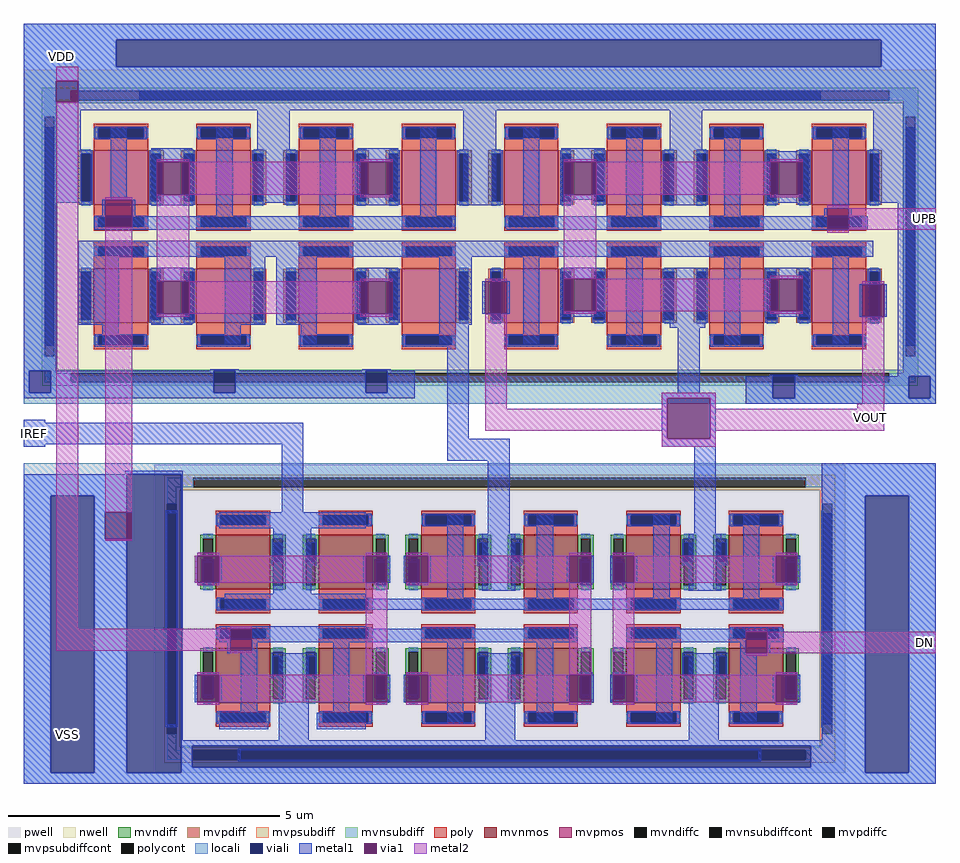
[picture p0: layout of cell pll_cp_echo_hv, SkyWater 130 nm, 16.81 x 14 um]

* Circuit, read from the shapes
.subckt pll_cp_echo_hv VOUT VSS VDD IREF DN UPB
XM1 VSS VDD n1 VSS sky130_fd_pr__nfet_g5v0d10v5 w=1 l=1 m=2
XM2 IREF IREF n1 VSS sky130_fd_pr__nfet_g5v0d10v5 w=1 l=1 m=2
XM3 VSS VDD n2 VSS sky130_fd_pr__nfet_g5v0d10v5 w=1 l=1 m=2
XM4 n3 IREF n2 VSS sky130_fd_pr__nfet_g5v0d10v5 w=1 l=1 m=2
XM5 VSS DN n4 VSS sky130_fd_pr__nfet_g5v0d10v5 w=1 l=1 m=2
XM6 VOUT IREF n4 VSS sky130_fd_pr__nfet_g5v0d10v5 w=1 l=1 m=2
XM7 n5 n3 n3 VDD sky130_fd_pr__pfet_g5v0d10v5 w=1 l=1 m=4
XM8 n5 VSS VDD VDD sky130_fd_pr__pfet_g5v0d10v5 w=1 l=1 m=4
XM9 n6 n3 VOUT VDD sky130_fd_pr__pfet_g5v0d10v5 w=1 l=1 m=4
XM10 n6 UPB VDD VDD sky130_fd_pr__pfet_g5v0d10v5 w=1 l=1 m=4
.ends

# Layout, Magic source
magic
tech sky130A
magscale 1 2
<< pwell >>
rect -2120 -200 -1980 -100
<< locali >>
rect -3040 1660 320 1720
rect -3040 1560 -2700 1660
rect 120 1560 320 1660
rect -3040 1440 320 1560
rect -3040 440 -2920 1440
rect -3040 360 -3020 440
rect -2940 420 -2920 440
rect -2940 360 -2340 420
rect -2260 360 -1780 420
rect 200 420 320 1440
rect -1700 360 -280 420
rect -3040 340 -280 360
rect -200 340 220 420
rect 300 340 320 420
rect -3040 320 320 340
rect -3040 60 320 100
rect -3040 -20 -2660 60
rect -3040 -1040 -2940 -20
rect -2780 -1040 -2660 -20
rect -2460 40 320 60
rect -100 -20 320 40
rect -100 -940 60 -20
rect -2460 -1020 -2420 -940
rect -140 -1020 60 -940
rect -2460 -1040 60 -1020
rect 220 -1040 320 -20
rect -3040 -1080 320 -1040
<< viali >>
rect -2700 1560 120 1660
rect -3020 360 -2940 440
rect -2340 360 -2260 440
rect -1780 360 -1700 440
rect -280 340 -200 420
rect 220 340 300 420
rect -2940 -1040 -2780 -20
rect -2660 -1040 -2460 60
rect -2420 -1020 -140 -940
rect 60 -1040 220 -20
<< metal1 >>
rect -3040 1660 320 1720
rect -3040 1560 -2700 1660
rect 120 1560 320 1660
rect -3040 1510 320 1560
rect -3040 1430 -2920 1510
rect -2840 1430 320 1510
rect -3040 1400 320 1430
rect -3040 1060 -2830 1400
rect -2720 1070 -2660 1340
rect -2570 1210 -2420 1260
rect -2570 1090 -2550 1210
rect -2430 1090 -2420 1210
rect -3040 440 -2920 1060
rect -2750 1010 -2740 1070
rect -2780 970 -2740 1010
rect -2640 1010 -2630 1070
rect -2570 1050 -2420 1090
rect -2330 1010 -2270 1340
rect -2180 1060 -2060 1400
rect -1950 1010 -1890 1340
rect -1810 1210 -1660 1260
rect -1810 1090 -1800 1210
rect -1680 1090 -1660 1210
rect -1810 1050 -1660 1090
rect -1580 1010 -1520 1340
rect -1420 1050 -1300 1400
rect -1200 1010 -1140 1340
rect -1060 1210 -900 1260
rect -1060 1090 -1050 1210
rect -930 1090 -900 1210
rect -1060 1070 -900 1090
rect -820 1010 -760 1340
rect -660 1050 -540 1400
rect -460 1010 -400 1340
rect -310 1210 -150 1250
rect -310 1090 -290 1210
rect -170 1090 -150 1210
rect -310 1060 -150 1090
rect -60 1040 0 1340
rect 90 1060 320 1400
rect -90 1010 -80 1040
rect -2640 970 -1450 1010
rect -2780 960 -1450 970
rect -1260 960 -80 1010
rect 0 1010 10 1040
rect 0 960 70 1010
rect -2840 860 90 920
rect -2840 610 -2690 860
rect -2570 770 -2420 820
rect -2570 650 -2550 770
rect -2430 650 -2420 770
rect -2570 610 -2420 650
rect -2300 610 -2150 860
rect -2110 610 -1960 860
rect -1810 770 -1660 820
rect -1810 650 -1800 770
rect -1680 650 -1660 770
rect -1810 610 -1660 650
rect -1510 610 -1390 860
rect -1350 650 -1340 770
rect -1260 650 -1250 770
rect -2750 530 -2690 610
rect -2300 540 -2240 610
rect -2020 540 -1960 610
rect -1510 540 -1400 610
rect -1200 540 -1140 860
rect -1060 780 -900 820
rect -1060 660 -1050 780
rect -930 660 -900 780
rect -1060 640 -900 660
rect -2352 440 -2248 446
rect -1792 440 -1688 446
rect -3040 360 -3020 440
rect -2940 360 -2340 440
rect -2260 360 -1780 440
rect -1700 360 -1600 440
rect -3040 340 -1600 360
rect -3040 250 -2960 260
rect -3040 170 -2010 250
rect -3040 160 -2960 170
rect -2666 60 -2454 72
rect -3040 -20 -2660 60
rect -3040 -1040 -2940 -20
rect -2780 -80 -2660 -20
rect -2780 -180 -2740 -80
rect -2780 -1040 -2660 -180
rect -2460 -920 -2454 60
rect -2090 -80 -2010 170
rect -1480 190 -1400 540
rect -820 530 -760 860
rect -680 620 -520 820
rect -660 600 -530 620
rect -630 360 -550 600
rect -460 530 -400 860
rect -310 780 -150 820
rect -310 660 -290 780
rect -170 660 -150 780
rect -310 640 -150 660
rect -60 540 0 860
rect 40 640 50 760
rect 130 640 140 760
rect -292 420 -188 426
rect 180 420 320 1060
rect -690 340 -490 360
rect -690 190 -670 340
rect -510 190 -490 340
rect -380 340 -280 420
rect -200 340 220 420
rect 300 340 320 420
rect -380 320 320 340
rect -1480 110 -1250 190
rect -690 160 -490 190
rect -2320 -140 -1780 -80
rect -2410 -340 -2400 -240
rect -2320 -340 -2310 -240
rect -2120 -380 -1980 -140
rect -1790 -340 -1780 -240
rect -1700 -340 -1690 -240
rect -1640 -340 -1630 -240
rect -1550 -340 -1540 -240
rect -2300 -400 -1780 -380
rect -1480 -400 -1420 -90
rect -1330 -160 -1250 110
rect -1350 -370 -1230 -160
rect -1150 -400 -1090 -90
rect -1040 -340 -1030 -240
rect -950 -340 -940 -240
rect -880 -340 -870 -240
rect -790 -340 -780 -240
rect -720 -400 -660 -90
rect -570 -160 -490 160
rect -100 -20 320 100
rect -590 -370 -470 -160
rect -390 -400 -330 -90
rect -280 -340 -270 -240
rect -190 -340 -180 -240
rect -2300 -440 -240 -400
rect -2320 -510 -1780 -500
rect -2320 -560 -2280 -510
rect -2290 -590 -2280 -560
rect -2200 -560 -1000 -510
rect -820 -520 -240 -510
rect -820 -560 -380 -520
rect -2200 -590 -2180 -560
rect -2290 -600 -2180 -590
rect -2410 -780 -2400 -680
rect -2320 -780 -2310 -680
rect -2240 -820 -2180 -600
rect -2320 -880 -2140 -820
rect -2100 -920 -1990 -600
rect -1900 -820 -1840 -560
rect -1790 -780 -1780 -680
rect -1700 -780 -1690 -680
rect -1640 -780 -1630 -680
rect -1550 -780 -1540 -680
rect -1960 -880 -1780 -820
rect -1480 -860 -1420 -560
rect -1340 -920 -1230 -600
rect -1150 -850 -1090 -560
rect -1040 -780 -1030 -680
rect -950 -780 -940 -680
rect -880 -780 -870 -680
rect -790 -780 -780 -680
rect -710 -850 -650 -560
rect -400 -600 -380 -560
rect -300 -560 -240 -520
rect -300 -600 -290 -560
rect -590 -920 -480 -600
rect -400 -850 -340 -600
rect -280 -780 -270 -680
rect -190 -780 -180 -680
rect -100 -920 60 -20
rect -2460 -940 60 -920
rect -2460 -1020 -2420 -940
rect -140 -1020 60 -940
rect -2460 -1040 60 -1020
rect 220 -1040 320 -20
rect -3040 -1080 320 -1040
<< via1 >>
rect -2920 1430 -2840 1510
rect -2550 1090 -2430 1210
rect -2740 970 -2640 1070
rect -1800 1090 -1680 1210
rect -1050 1090 -930 1210
rect -290 1090 -170 1210
rect -80 960 0 1040
rect -2550 650 -2430 770
rect -1800 650 -1680 770
rect -1340 650 -1260 770
rect -1050 660 -930 780
rect -2740 -180 -2660 -80
rect -2660 -180 -2640 -80
rect -290 660 -170 780
rect 50 640 130 760
rect -670 190 -510 340
rect -2400 -340 -2320 -240
rect -1780 -340 -1700 -240
rect -1630 -340 -1550 -240
rect -1030 -340 -950 -240
rect -870 -340 -790 -240
rect -270 -340 -190 -240
rect -2280 -590 -2200 -510
rect -2400 -780 -2320 -680
rect -1780 -780 -1700 -680
rect -1630 -780 -1550 -680
rect -1030 -780 -950 -680
rect -870 -780 -790 -680
rect -380 -600 -300 -520
rect -270 -780 -190 -680
<< metal2 >>
rect -2920 1510 -2840 1560
rect -2920 -510 -2840 1430
rect -2550 1210 -2430 1220
rect -1800 1210 -1680 1220
rect -2430 1090 -1800 1210
rect -2740 1070 -2640 1080
rect -2740 -80 -2640 970
rect -2550 770 -2430 1090
rect -1800 1080 -1680 1090
rect -1050 1210 -930 1220
rect -290 1210 -170 1220
rect -930 1090 -290 1210
rect -1050 780 -930 1090
rect -290 1080 -170 1090
rect -80 1040 0 1050
rect 0 960 320 1040
rect -80 950 0 960
rect -290 780 -170 790
rect -1800 770 -1680 780
rect -2430 650 -1800 770
rect -2550 640 -2430 650
rect -1800 640 -1680 650
rect -1340 770 -1260 780
rect -930 660 -290 780
rect -1050 650 -930 660
rect -290 650 -170 660
rect 50 760 130 770
rect -1340 300 -1260 650
rect -690 340 -490 360
rect -690 300 -670 340
rect -1340 220 -670 300
rect -690 190 -670 220
rect -510 300 -490 340
rect 50 320 130 640
rect 30 300 130 320
rect -510 220 130 300
rect -510 190 -490 220
rect -690 160 -490 190
rect -2740 -186 -2640 -180
rect -2400 -240 -2320 -230
rect -1780 -240 -1700 -230
rect -2410 -340 -2400 -240
rect -2320 -340 -1780 -240
rect -2400 -350 -2320 -340
rect -2280 -510 -2200 -500
rect -2920 -590 -2280 -510
rect -2280 -600 -2200 -590
rect -2400 -680 -2320 -670
rect -1780 -680 -1700 -340
rect -1630 -240 -1550 -230
rect -1030 -240 -950 -230
rect -1550 -340 -1030 -240
rect -1630 -350 -1550 -340
rect -2320 -780 -1780 -680
rect -2400 -790 -2320 -780
rect -1780 -790 -1700 -780
rect -1630 -680 -1550 -670
rect -1030 -680 -950 -340
rect -1550 -780 -1030 -680
rect -1630 -790 -1550 -780
rect -1030 -790 -950 -780
rect -870 -240 -790 -230
rect -270 -240 -190 -230
rect -790 -340 -270 -240
rect -870 -680 -790 -340
rect -270 -350 -190 -340
rect -380 -520 -300 -510
rect -300 -600 320 -520
rect -380 -610 -300 -600
rect -270 -680 -190 -670
rect -790 -780 -270 -680
rect -870 -790 -790 -780
rect -270 -790 -190 -780
use sky130_fd_pr__nfet_g5v0d10v5_HF5BS6  sky130_fd_pr__nfet_g5v0d10v5_HF5BS6_0
transform 1 0 -1287 0 1 -473
box -1273 -567 1273 567
use sky130_fd_pr__pfet_g5v0d10v5_U7XX7W  sky130_fd_pr__pfet_g5v0d10v5_U7XX7W_0
transform 1 0 -1359 0 1 935
box -1681 -615 1681 615
<< labels >>
flabel metal2 30 220 130 320 0 FreeSans 1280 0 0 0 VOUT
port 1 nsew
flabel metal1 -2980 -1000 -2780 -800 0 FreeSans 1280 0 0 0 VSS
port 2 nsew
flabel metal1 -3000 1500 -2800 1700 0 FreeSans 1280 0 0 0 VDD
port 3 nsew
flabel metal1 -3040 160 -2960 260 0 FreeSans 1280 0 0 0 IREF
port 4 nsew
flabel metal2 240 -600 320 -520 0 FreeSans 1280 0 0 0 DN
port 5 nsew
flabel metal2 240 960 320 1040 0 FreeSans 1280 0 0 0 UPB
port 6 nsew
<< end >>

# cell sky130_fd_pr__nfet_g5v0d10v5_HF5BS6: kit device sky130_fd_pr__nfet_g5v0d10v5, w 1 l 1 m 2 nf 6 diffcov 100 polycov 100 guard 1 glc 1 grc 1 gtc 1 gbc 1 tbcov 100 rlcov 100 topc 1 botc 1 poverlap 0 doverlap 0 lmin 0.50 wmin 0.42 compatible {sky130_fd_pr__nfet_01v8 sky130_fd_pr__nfet_01v8_lvt sky130_fd_bs_flash__special_sonosfet_star sky130_fd_pr__nfet_g5v0d10v5 sky130_fd_pr__nfet_05v0_nvt sky130_fd_pr__nfet_03v3_nvt} full_metal 1 viasrc -40 viadrn +40 viagate 100 viagb 80 viagr 80 viagl 80 viagt 0

# cell sky130_fd_pr__pfet_g5v0d10v5_U7XX7W: kit device sky130_fd_pr__pfet_g5v0d10v5, w 1 l 1 m 2 nf 8 diffcov 100 polycov 100 guard 1 glc 1 grc 1 gtc 1 gbc 1 tbcov 100 rlcov 100 topc 1 botc 1 poverlap 0 doverlap 0 lmin 0.50 wmin 0.42 compatible {sky130_fd_pr__pfet_01v8 sky130_fd_pr__pfet_01v8_lvt sky130_fd_pr__pfet_01v8_hvt sky130_fd_pr__pfet_g5v0d10v5} full_metal 1 viasrc 100 viadrn 100 viagate 100 viagb 0 viagr 80 viagl 80 viagt 80
